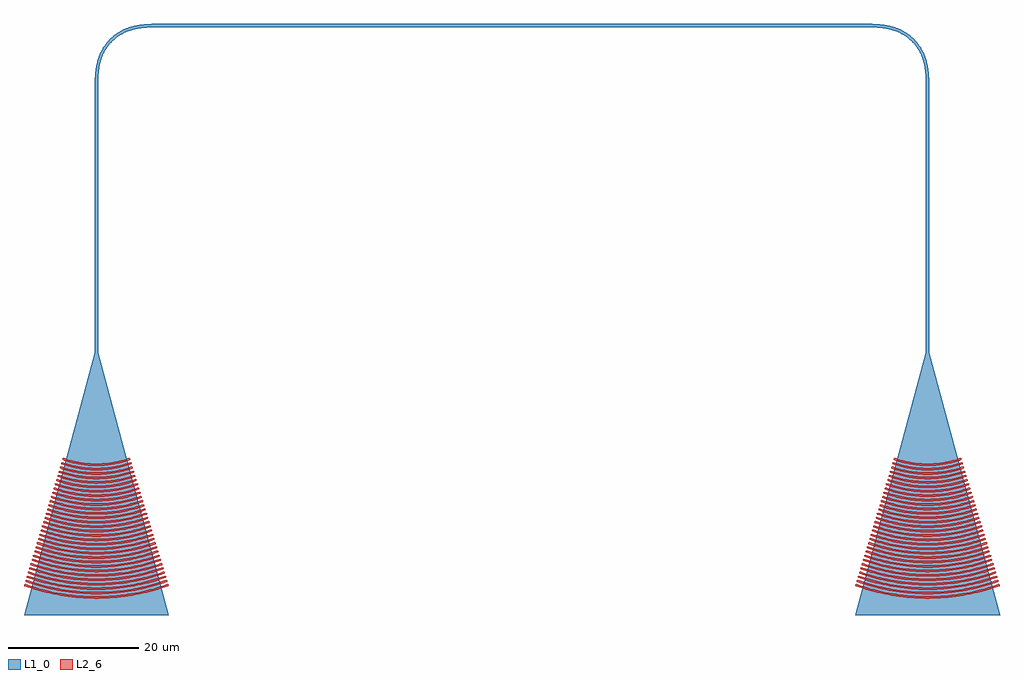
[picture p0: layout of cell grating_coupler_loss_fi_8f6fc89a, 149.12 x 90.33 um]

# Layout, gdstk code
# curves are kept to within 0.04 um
from math import pi, radians
import gdstk
lib = gdstk.Library(unit=1e-6, precision=1e-09)
def R(c, l, rs):  # rectangles x0, y0, x1, y1
    for r in rs: c.add(gdstk.rectangle(r[:2], r[2:], *l))
def P(c, l, *ps):  # polygons
    for p in ps: c.add(gdstk.Polygon(p, *l))
L1_0 = (1, 0)
L2_6 = (2, 6)

grating_coupler_ellipti_ = lib.new_cell('grating_coupler_ellipti_ea10bcf6')
P(grating_coupler_ellipti_, L1_0, [(40.551,-11.062),(0.471,-0.25),(0.471,0.25),(40.551,11.062)])
P(grating_coupler_ellipti_, L2_6, [(16.656,-5.191),(16.536,-5.031),(16.925,-3.773),(17.242,-2.227),(17.363,-1.182),(17.408,-0.132),(17.381,0.92),(17.279,1.967),(16.989,3.518),(16.536,5.031),(16.656,5.191),(16.85,5.141),(17.176,4.117),(17.43,3.071),(17.671,1.476),(17.741,0.134),(17.671,-1.476),(17.43,-3.071),(17.176,-4.117),(16.85,-5.141)],
  [(17.298,-5.386),(17.178,-5.226),(17.582,-3.92),(17.911,-2.314),(18.037,-1.228),(18.084,-0.137),(18.056,0.956),(17.95,2.043),(17.648,3.655),(17.178,5.226),(17.298,5.386),(17.492,5.336),(17.831,4.273),(18.094,3.187),(18.344,1.532),(18.418,0.139),(18.344,-1.532),(18.094,-3.187),(17.831,-4.273),(17.492,-5.336)],
  [(17.941,-5.582),(17.82,-5.422),(18.239,-4.066),(18.581,-2.4),(18.711,-1.274),(18.76,-0.142),(18.731,0.992),(18.581,2.4),(18.239,4.066),(17.82,5.422),(17.941,5.582),(18.134,5.532),(18.485,4.43),(18.758,3.304),(19.018,1.589),(19.094,0.144),(19.018,-1.589),(18.758,-3.304),(18.485,-4.43),(18.134,-5.532)],
  [(18.582,-5.778),(18.462,-5.618),(18.968,-3.928),(19.25,-2.487),(19.385,-1.32),(19.437,-0.147),(19.406,1.027),(19.292,2.196),(18.968,3.928),(18.462,5.618),(18.582,5.778),(18.776,5.728),(19.14,4.586),(19.422,3.422),(19.691,1.645),(19.77,0.149),(19.691,-1.645),(19.481,-3.128),(19.218,-4.297),(18.875,-5.445),(18.776,-5.728)],
  [(19.224,-5.973),(19.104,-5.813),(19.553,-4.36),(19.92,-2.573),(20.059,-1.366),(20.112,-0.152),(20.081,1.063),(19.92,2.573),(19.553,4.36),(19.104,5.813),(19.224,5.973),(19.418,5.923),(19.794,4.743),(20.086,3.539),(20.364,1.701),(20.446,0.154),(20.364,-1.701),(20.147,-3.235),(19.875,-4.444),(19.52,-5.631),(19.418,-5.923)],
  [(19.866,-6.169),(19.746,-6.009),(20.287,-4.202),(20.589,-2.66),(20.733,-1.412),(20.788,-0.158),(20.756,1.098),(20.589,2.66),(20.287,4.202),(19.746,6.009),(19.866,6.169),(20.06,6.119),(20.449,4.9),(20.751,3.656),(21.038,1.757),(21.121,0.16),(21.038,-1.757),(20.751,-3.656),(20.449,-4.9),(20.06,-6.119)],
  [(20.508,-6.365),(20.388,-6.205),(20.868,-4.653),(21.259,-2.747),(21.408,-1.458),(21.464,-0.163),(21.431,1.135),(21.259,2.747),(20.868,4.653),(20.388,6.205),(20.508,6.365),(20.702,6.315),(21.103,5.056),(21.415,3.773),(21.711,1.813),(21.798,0.165),(21.711,-1.813),(21.415,-3.773),(21.103,-5.056),(20.702,-6.315)],
  [(21.151,-6.56),(21.03,-6.4),(21.525,-4.8),(21.928,-2.833),(22.082,-1.504),(22.14,-0.168),(22.106,1.171),(21.928,2.833),(21.525,4.8),(21.03,6.4),(21.151,6.56),(21.344,6.51),(21.456,6.189),(21.847,4.884),(22.079,3.889),(22.384,1.869),(22.473,0.17),(22.414,-1.53),(22.145,-3.555),(21.847,-4.884),(21.563,-5.866),(21.344,-6.51)],
  [(21.792,-6.756),(21.672,-6.596),(22.182,-4.947),(22.598,-2.92),(22.756,-1.55),(22.816,-0.173),(22.756,1.55),(22.598,2.92),(22.182,4.947),(21.672,6.596),(21.792,6.756),(21.986,6.706),(22.102,6.375),(22.504,5.031),(22.743,4.006),(23.057,1.926),(23.15,0.175),(23.088,-1.576),(22.811,-3.662),(22.504,-5.031),(22.102,-6.375),(21.986,-6.706)],
  [(22.436,-6.951),(22.315,-6.792),(22.926,-4.749),(23.267,-3.007),(23.43,-1.596),(23.492,-0.178),(23.43,1.596),(23.267,3.007),(22.926,4.749),(22.315,6.792),(22.436,6.951),(22.629,6.9),(22.747,6.561),(23.161,5.177),(23.407,4.123),(23.731,1.982),(23.825,0.18),(23.731,-1.982),(23.477,-3.769),(23.25,-4.827),(22.86,-6.218),(22.629,-6.9)],
  [(23.078,-7.147),(22.957,-6.987),(23.496,-5.24),(23.937,-3.093),(24.104,-1.642),(24.168,-0.183),(24.13,1.278),(23.937,3.093),(23.496,5.24),(22.957,6.987),(23.078,7.147),(23.271,7.097),(23.393,6.747),(23.721,5.683),(24.071,4.239),(24.404,2.038),(24.502,0.185),(24.404,-2.038),(24.143,-3.875),(23.909,-4.964),(23.509,-6.394),(23.271,-7.097)],
  [(23.72,-7.343),(23.599,-7.184),(24.153,-5.387),(24.548,-3.551),(24.778,-1.688),(24.844,-0.187),(24.805,1.314),(24.606,3.18),(24.245,5.023),(23.599,7.184),(23.72,7.343),(23.913,7.292),(24.038,6.933),(24.475,5.471),(24.735,4.356),(25.077,2.094),(25.177,0.191),(25.077,-2.094),(24.809,-3.982),(24.569,-5.101),(24.157,-6.571),(23.913,-7.292)],
  [(24.362,-7.538),(24.241,-7.379),(24.81,-5.533),(25.276,-3.266),(25.453,-1.734),(25.52,-0.193),(25.453,1.734),(25.276,3.266),(24.81,5.533),(24.241,7.379),(24.362,7.538),(24.555,7.487),(24.683,7.119),(25.03,5.996),(25.399,4.473),(25.75,2.15),(25.854,0.195),(25.785,-1.76),(25.475,-4.089),(25.228,-5.237),(24.806,-6.747),(24.555,-7.487)],
  [(25.004,-7.734),(24.883,-7.574),(25.468,-5.68),(25.945,-3.353),(26.127,-1.78),(26.196,-0.198),(26.155,1.385),(25.945,3.353),(25.468,5.68),(24.883,7.574),(25.004,7.734),(25.197,7.684),(25.329,7.305),(25.79,5.764),(26.064,4.589),(26.424,2.206),(26.53,0.2),(26.424,-2.206),(26.141,-4.195),(25.79,-5.764),(25.454,-6.922),(25.197,-7.684)],
  [(25.646,-7.929),(25.525,-7.769),(26.125,-5.827),(26.615,-3.44),(26.801,-1.826),(26.872,-0.204),(26.83,1.421),(26.615,3.44),(26.125,5.827),(25.525,7.769),(25.646,7.929),(25.839,7.879),(25.974,7.491),(26.447,5.911),(26.728,4.706),(26.945,3.49),(27.097,2.263),(27.206,0.206),(27.097,-2.263),(26.807,-4.303),(26.548,-5.511),(26.103,-7.1),(25.839,-7.879)],
  [(26.287,-8.125),(26.167,-7.965),(26.782,-5.974),(27.219,-3.937),(27.475,-1.872),(27.548,-0.209),(27.505,1.457),(27.284,3.526),(27.066,4.756),(26.782,5.974),(26.167,7.965),(26.287,8.125),(26.481,8.075),(26.62,7.677),(27.104,6.058),(27.392,4.824),(27.614,3.576),(27.77,2.319),(27.882,0.211),(27.859,-1.055),(27.77,-2.319),(27.474,-4.409),(27.104,-6.058),(26.752,-7.275),(26.481,-8.075)],
  [(26.93,-8.321),(26.809,-8.161),(27.439,-6.12),(27.887,-4.034),(28.112,-2.343),(28.224,-0.213),(28.18,1.493),(27.954,3.613),(27.543,5.707),(27.209,6.942),(26.809,8.161),(26.93,8.321),(27.123,8.271),(27.265,7.863),(27.648,6.622),(28.056,4.941),(28.284,3.663),(28.444,2.375),(28.557,0.217),(28.534,-1.081),(28.444,-2.375),(28.14,-4.516),(27.867,-5.785),(27.4,-7.452),(27.123,-8.271)],
  [(27.571,-8.516),(27.451,-8.356),(28.096,-6.267),(28.555,-4.131),(28.824,-1.964),(28.9,-0.218),(28.855,1.528),(28.623,3.7),(28.203,5.843),(27.86,7.109),(27.451,8.356),(27.571,8.516),(27.765,8.466),(27.911,8.048),(28.418,6.351),(28.72,5.057),(28.953,3.75),(29.117,2.431),(29.234,0.222),(29.156,-1.99),(29.015,-3.311),(28.806,-4.623),(28.527,-5.921),(28.049,-7.628),(27.765,-8.466)],
  [(28.214,-8.712),(28.093,-8.552),(28.753,-6.414),(29.223,-4.228),(29.498,-2.01),(29.576,-0.224),(29.498,2.01),(29.293,3.786),(29.058,5.108),(28.753,6.414),(28.093,8.552),(28.214,8.712),(28.407,8.662),(28.556,8.234),(28.957,6.935),(29.384,5.174),(29.623,3.836),(29.79,2.487),(29.909,0.226),(29.83,-2.036),(29.686,-3.387),(29.472,-4.73),(29.186,-6.058),(28.697,-7.803),(28.407,-8.662)],
  [(28.856,-8.907),(28.735,-8.747),(29.41,-6.561),(29.891,-4.324),(30.172,-2.056),(30.252,-0.229),(30.172,2.056),(29.962,3.873),(29.522,6.117),(29.163,7.441),(28.735,8.747),(28.856,8.907),(29.049,8.857),(29.346,7.981),(29.732,6.645),(30.048,5.29),(30.414,3.004),(30.536,1.62),(30.586,0.231),(30.504,-2.082),(30.357,-3.464),(30.138,-4.837),(29.846,-6.195),(29.346,-7.981),(29.049,-8.857)],
  [(29.497,-9.103),(29.377,-8.943),(30.068,-6.707),(30.559,-4.421),(30.805,-2.568),(30.928,-0.234),(30.879,1.636),(30.632,3.959),(30.386,5.34),(30.068,6.707),(29.377,8.943),(29.497,9.103),(29.691,9.053),(29.995,8.157),(30.39,6.791),(30.712,5.408),(30.962,4.009),(31.137,2.6),(31.261,0.236),(31.236,-1.183),(31.137,-2.6),(30.804,-4.943),(30.506,-6.332),(29.995,-8.157),(29.691,-9.053)],
  [(30.14,-9.299),(30.019,-9.139),(30.725,-6.854),(31.226,-4.518),(31.478,-2.624),(31.604,-0.238),(31.554,1.671),(31.301,4.046),(31.05,5.457),(30.725,6.854),(30.019,9.139),(30.14,9.299),(30.333,9.249),(30.643,8.333),(31.047,6.938),(31.376,5.525),(31.631,4.096),(31.81,2.656),(31.938,0.242),(31.912,-1.208),(31.81,-2.656),(31.47,-5.05),(31.047,-6.938),(30.643,-8.333),(30.333,-9.249)],
  [(30.781,-9.494),(30.661,-9.334),(31.382,-7.001),(31.894,-4.614),(32.151,-2.68),(32.281,-0.243),(32.229,1.707),(31.971,4.133),(31.715,5.574),(31.382,7.001),(30.661,9.334),(30.781,9.494),(30.975,9.444),(31.292,8.509),(31.704,7.085),(32.041,5.642),(32.301,4.183),(32.483,2.712),(32.614,0.247),(32.587,-1.234),(32.483,-2.712),(32.136,-5.157),(31.825,-6.605),(31.292,-8.509),(30.975,-9.444)],
  [(31.424,-9.69),(31.303,-9.53),(32.039,-7.147),(32.562,-4.711),(32.869,-2.24),(32.956,-0.25),(32.869,2.24),(32.64,4.219),(32.161,6.664),(31.77,8.107),(31.303,9.53),(31.424,9.69),(31.617,9.64),(31.94,8.684),(32.361,7.231),(32.705,5.759),(33.103,3.27),(33.236,1.763),(33.289,0.252),(33.201,-2.266),(33.041,-3.77),(32.802,-5.264),(32.485,-6.742),(31.94,-8.684),(31.617,-9.64)],
  [(32.066,-9.886),(31.945,-9.726),(32.696,-7.294),(33.23,-4.808),(33.543,-2.286),(33.632,-0.255),(33.579,1.779),(33.31,4.306),(33.043,5.807),(32.696,7.294),(31.945,9.726),(32.066,9.886),(32.259,9.836),(32.589,8.862),(33.018,7.378),(33.369,5.875),(33.64,4.356),(33.83,2.824),(33.966,0.257),(33.938,-1.285),(33.83,-2.824),(33.468,-5.371),(33.144,-6.879),(32.589,-8.862),(32.259,-9.836)],
  [(32.707,-10.081),(32.587,-9.921),(33.353,-7.441),(33.898,-4.905),(34.217,-2.332),(34.308,-0.26),(34.254,1.814),(33.979,4.392),(33.48,6.938),(33.073,8.44),(32.587,9.921),(32.707,10.081),(32.901,10.031),(33.238,9.038),(33.675,7.525),(34.033,5.991),(34.309,4.442),(34.503,2.88),(34.642,0.262),(34.613,-1.311),(34.503,-2.88),(34.134,-5.477),(33.804,-7.016),(33.238,-9.038),(32.901,-10.031)],
  [(33.35,-10.277),(33.229,-10.117),(34.01,-7.588),(34.566,-5.001),(34.891,-2.378),(34.984,-0.264),(34.929,1.85),(34.649,4.479),(34.371,6.041),(34.01,7.588),(33.229,10.117),(33.35,10.277),(33.543,10.227),(34.044,8.703),(34.463,7.153),(34.801,5.584),(35.176,2.937),(35.318,0.268),(35.289,-1.336),(35.176,-2.937),(34.801,-5.584),(34.463,-7.153),(34.044,-8.703),(33.543,-10.227)],
  [(33.991,-10.472),(33.871,-10.312),(34.668,-7.734),(35.234,-5.098),(35.518,-2.961),(35.66,-0.269),(35.565,2.424),(35.318,4.566),(35.035,6.158),(34.668,7.734),(33.871,10.312),(33.991,10.472),(34.185,10.422),(34.696,8.869),(35.123,7.289),(35.467,5.691),(35.85,2.993),(35.994,0.273),(35.964,-1.362),(35.85,-2.993),(35.467,-5.691),(35.123,-7.289),(34.696,-8.869),(34.185,-10.422)],
  [(34.633,-10.668),(34.513,-10.508),(35.325,-7.881),(35.902,-5.195),(36.191,-3.017),(36.336,-0.274),(36.278,1.922),(35.988,4.652),(35.699,6.275),(35.325,7.881),(34.513,10.508),(34.633,10.668),(34.827,10.618),(35.348,9.035),(35.783,7.426),(36.133,5.798),(36.523,3.049),(36.67,0.278),(36.64,-1.387),(36.523,-3.049),(36.133,-5.798),(35.783,-7.426),(35.348,-9.035),(34.827,-10.618)],
  [(35.276,-10.864),(35.155,-10.704),(35.982,-8.028),(36.569,-5.291),(36.914,-2.516),(37.012,-0.28),(36.914,2.516),(36.657,4.739),(36.363,6.392),(35.982,8.028),(35.155,10.704),(35.276,10.864),(35.469,10.814),(35.999,9.202),(36.442,7.563),(36.799,5.904),(37.196,3.105),(37.346,0.282),(37.246,-2.542),(37.066,-4.229),(36.799,-5.904),(36.442,-7.563),(35.999,-9.202),(35.469,-10.814)],
  [(35.917,-11.059),(35.797,-10.899),(36.639,-8.174),(37.237,-5.388),(37.588,-2.562),(37.688,-0.285),(37.588,2.562),(37.327,4.826),(37.027,6.508),(36.639,8.174),(35.797,10.899),(35.917,11.059),(36.111,11.009),(36.651,9.368),(37.102,7.7),(37.465,6.011),(37.869,3.161),(38.021,0.287),(37.92,-2.588),(37.737,-4.305),(37.465,-6.011),(37.102,-7.7),(36.651,-9.368),(36.111,-11.009)])

bend_euler_r10_a90_p0p5_ = lib.new_cell('bend_euler_R10_A90_P0p5_2f1f5c6d')
P(bend_euler_r10_a90_p0p5_, L1_0, [(0,-0.25),(0,0.25),(1.655,0.269),(2.881,0.353),(3.952,0.52),(4.99,0.806),(5.731,1.113),(6.431,1.505),(7.575,2.425),(8.495,3.569),(8.887,4.269),(9.194,5.01),(9.48,6.048),(9.647,7.119),(9.731,8.345),(9.75,10),(10.25,10),(10.158,7.205),(10.023,6.224),(9.797,5.254),(9.457,4.312),(9.066,3.545),(8.5,2.715),(7.928,2.072),(7.285,1.5),(6.455,0.934),(5.688,0.543),(4.746,0.203),(3.776,-0.023),(2.795,-0.158)])

straight_l40_n2_csstrip_ = lib.new_cell('straight_L40_N2_CSstrip_WNone')
R(straight_l40_n2_csstrip_, L1_0, [(0,-0.25,40,0.25)])

straight_l107_n2_csstrip = lib.new_cell('straight_L107_N2_CSstrip_WNone')
R(straight_l107_n2_csstrip, L1_0, [(0,-0.25,107,0.25)])

grating_coupler_loss_fi_ = lib.new_cell('grating_coupler_loss_fi_8f6fc89a')
grating_coupler_loss_fi_.add(gdstk.Reference(grating_coupler_ellipti_, (0,0), rotation=3*pi/2))
grating_coupler_loss_fi_.add(gdstk.Reference(grating_coupler_ellipti_, (127,0), rotation=3*pi/2))
grating_coupler_loss_fi_.add(gdstk.Reference(bend_euler_r10_a90_p0p5_, (10,49.529), rotation=pi))
grating_coupler_loss_fi_.add(gdstk.Reference(straight_l40_n2_csstrip_, (0,39.529), rotation=3*pi/2))
grating_coupler_loss_fi_.add(gdstk.Reference(bend_euler_r10_a90_p0p5_, (127,39.529), rotation=pi/2))
grating_coupler_loss_fi_.add(gdstk.Reference(straight_l107_n2_csstrip, (117,49.529), rotation=pi))
grating_coupler_loss_fi_.add(gdstk.Reference(straight_l40_n2_csstrip_, (127,39.529), rotation=3*pi/2))

lib.write_gds('grating_coupler_loss_fi_8f6fc89a.gds')
